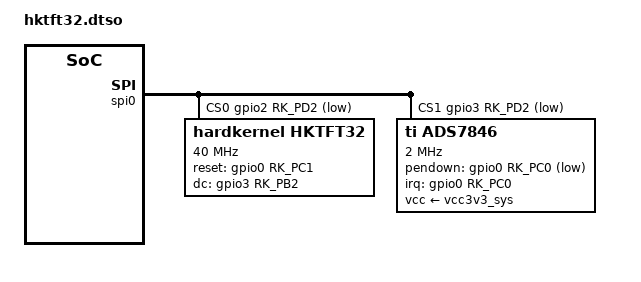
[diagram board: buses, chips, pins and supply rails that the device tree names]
/dts-v1/;
/plugin/;

#include <dt-bindings/gpio/gpio.h>
#include <dt-bindings/pinctrl/rockchip.h>
#include <dt-bindings/interrupt-controller/irq.h>

&spi0 {
	status = "okay";

	num-cs = <2>;
	cs-gpios = <&gpio2 RK_PD2 GPIO_ACTIVE_LOW>,
			   <&gpio3 RK_PD2 GPIO_ACTIVE_LOW>;

	#address-cells = <1>;
	#size-cells = <0>;

	hktft32: hktft32@0 {
		status = "okay";
		compatible = "hardkernel,hktft32";
		reg = <0>;
		spi-max-frequency = <40000000>;
		rotation = <90>;
		reset-gpios = <&gpio0 RK_PC1 GPIO_ACTIVE_HIGH>;
		dc-gpios = <&gpio3 RK_PB2 GPIO_ACTIVE_HIGH>;
	};

	ads7846: ads7846@1 {
		status = "okay";
		compatible = "ti,ads7846";
		pinctrl-names = "default";
		pinctrl-0 = <&ads7846_pendown_pins>;

		spi-max-frequency = <2000000>;
		reg = <1>;

		interrupt-parent = <&gpio0>;
		interrupts = <RK_PC0 IRQ_TYPE_EDGE_FALLING>;
		pendown-gpio = <&gpio0 RK_PC0 GPIO_ACTIVE_LOW>;

		vcc-supply = <&vcc3v3_sys>;

		ti,swap-xy;
		ti,x-min = /bits/ 16 <0>;
		ti,x-max = /bits/ 16 <8000>;
		ti,y-min = /bits/ 16 <0>;
		ti,y-max = /bits/ 16 <4800>;
		ti,x-plate-ohms = /bits/ 16 <40>;
		ti,pressure-max = /bits/ 16 <255>;

		linux,wakeup;
	};
};

&pinctrl {
	touchscreen {
		ads7846_pendown_pins: ads7846-pendown-pins {
			rockchip,pins = <0 RK_PC0 RK_FUNC_GPIO &pcfg_pull_up>;
		};
	};
};
